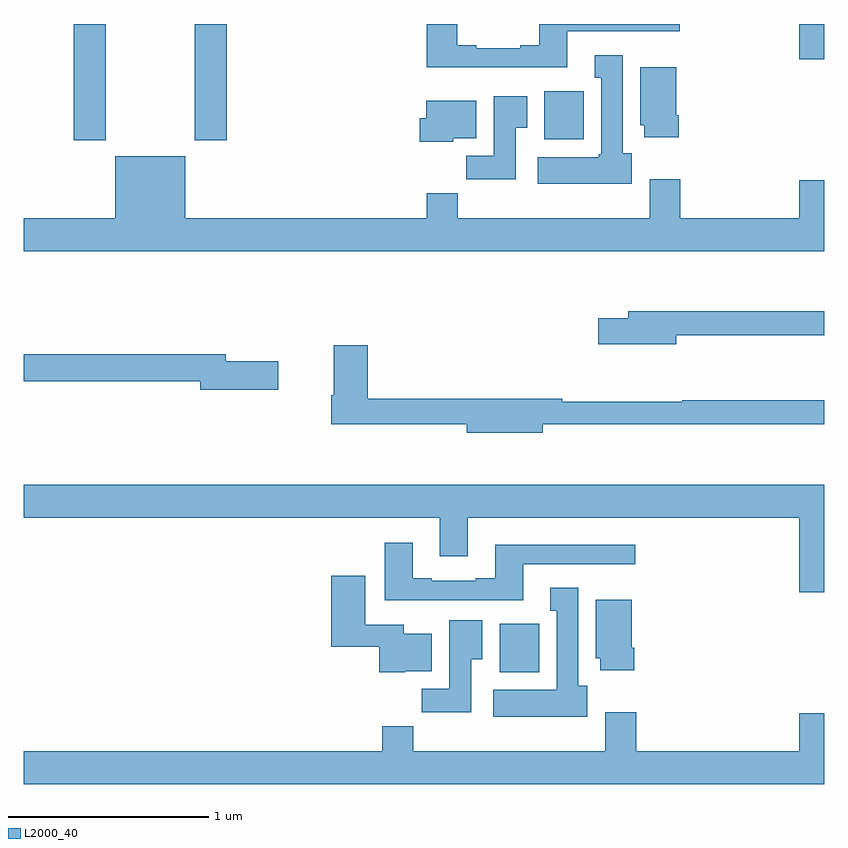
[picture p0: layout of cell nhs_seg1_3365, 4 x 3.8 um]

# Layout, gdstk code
import gdstk
lib = gdstk.Library(unit=1e-6, precision=1e-09)
def R(c, l, rs):  # rectangles x0, y0, x1, y1
    for r in rs: c.add(gdstk.rectangle(r[:2], r[2:], *l))
def P(c, l, *ps):  # polygons
    for p in ps: c.add(gdstk.Polygon(p, *l))
L2000_40 = (2000, 40)

nhs_seg1_3365 = lib.new_cell('nhs_seg1_3365')
R(nhs_seg1_3365, L2000_40, [(295.379,550.958,295.576,551.2), (293.249,553.617,293.409,554.199), (293.854,553.617,294.014,554.199), (295.601,553.622,295.798,553.864), (296.876,554.022,297,554.199)])
P(nhs_seg1_3365, L2000_40, [(295.717,554.163),(296.278,554.163),(296.278,554.199),(295.577,554.199),(295.577,554.092),(295.481,554.092),(295.481,554.079),(295.261,554.079),(295.261,554.092),(295.165,554.092),(295.165,554.199),(295.013,554.199),(295.013,553.982),(295.717,553.982)],
  [(296.038,553.554),(295.993,553.554),(295.993,554.044),(295.853,554.044),(295.853,553.931),(295.886,553.931),(295.886,553.548),(295.873,553.548),(295.873,553.534),(295.569,553.534),(295.569,553.4),(296.038,553.4)],
  [(296.273,553.744),(296.26,553.744),(296.26,553.984),(296.081,553.984),(296.081,553.692),(296.102,553.692),(296.102,553.632),(296.273,553.632)],
  [(295.459,553.681),(295.516,553.681),(295.516,553.837),(295.349,553.837),(295.349,553.54),(295.21,553.54),(295.21,553.422),(295.459,553.422)],
  [(295.146,553.628),(295.261,553.628),(295.261,553.816),(295.01,553.816),(295.01,553.728),(294.98,553.728),(294.98,553.61),(295.146,553.61)],
  [(297,553.417),(296.876,553.417),(296.876,553.228),(296.282,553.228),(296.282,553.423),(296.129,553.423),(296.129,553.228),(295.169,553.228),(295.169,553.352),(295.013,553.352),(295.013,553.228),(293.806,553.228),(293.806,553.537),(293.456,553.537),(293.456,553.228),(293,553.228),(293,553.064),(297,553.064)],
  [(296.26,552.642),(297,552.642),(297,552.763),(296.021,552.763),(296.021,552.729),(295.872,552.729),(295.872,552.599),(296.26,552.599)],
  [(295.594,552.198),(297,552.198),(297,552.319),(296.29,552.319),(296.29,552.311),(295.69,552.311),(295.69,552.326),(294.719,552.326),(294.719,552.592),(294.548,552.592),(294.548,552.343),(294.536,552.343),(294.536,552.198),(295.214,552.198),(295.214,552.155),(295.594,552.155)],
  [(294.271,552.512),(294.01,552.512),(294.01,552.548),(293,552.548),(293,552.412),(293.882,552.412),(293.882,552.37),(294.271,552.37)],
  [(297,551.896),(293,551.896),(293,551.732),(295.079,551.732),(295.079,551.538),(295.219,551.538),(295.219,551.732),(296.876,551.732),(296.876,551.358),(297,551.358)],
  [(295.495,551.499),(296.056,551.499),(296.056,551.596),(295.355,551.596),(295.355,551.428),(295.259,551.428),(295.259,551.415),(295.039,551.415),(295.039,551.428),(294.943,551.428),(294.943,551.605),(294.803,551.605),(294.803,551.319),(295.495,551.319)],
  [(294.906,550.964),(295.039,550.964),(295.039,551.152),(294.898,551.152),(294.898,551.197),(294.706,551.197),(294.706,551.44),(294.536,551.44),(294.536,551.087),(294.776,551.087),(294.776,550.958),(294.906,550.958)],
  [(295.816,550.89),(295.771,550.89),(295.771,551.38),(295.631,551.38),(295.631,551.267),(295.664,551.267),(295.664,550.87),(295.347,550.87),(295.347,550.736),(295.816,550.736)],
  [(296.051,551.08),(296.038,551.08),(296.038,551.32),(295.859,551.32),(295.859,551.028),(295.88,551.028),(295.88,550.968),(296.051,550.968)],
  [(295.237,551.024),(295.291,551.024),(295.291,551.218),(295.127,551.218),(295.127,550.876),(294.988,550.876),(294.988,550.758),(295.237,550.758)],
  [(297,550.753),(296.876,550.753),(296.876,550.564),(296.06,550.564),(296.06,550.759),(295.907,550.759),(295.907,550.564),(294.947,550.564),(294.947,550.688),(294.791,550.688),(294.791,550.564),(293,550.564),(293,550.4),(297,550.4)])

lib.write_gds('nhs_seg1_3365.gds')
